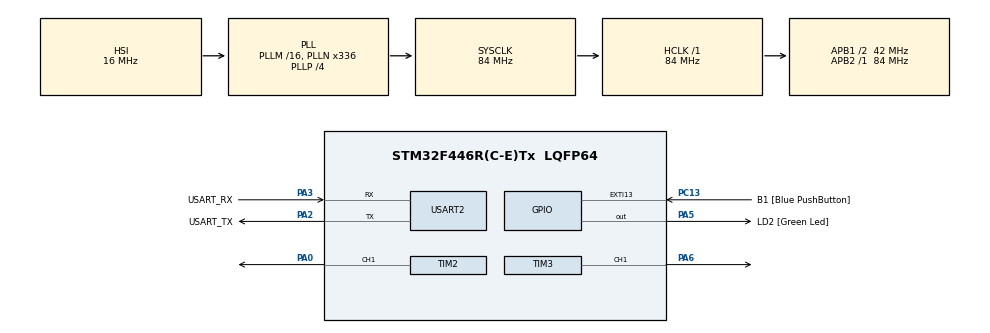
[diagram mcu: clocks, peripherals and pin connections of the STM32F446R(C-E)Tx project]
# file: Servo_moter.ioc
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Mcu.Family=STM32F4
Mcu.Name=STM32F446R(C-E)Tx
Mcu.Package=LQFP64
NVIC.PriorityGroup=NVIC_PRIORITYGROUP_0
PA0-WKUP.Signal=S_TIM2_CH1_ETR
PA13.GPIO_Label=TMS
PA13.Mode=Serial_Wire
PA13.Signal=SYS_JTMS-SWDIO
PA14.GPIO_Label=TCK
PA14.Mode=Serial_Wire
PA14.Signal=SYS_JTCK-SWCLK
PA2.GPIO_Label=USART_TX
PA2.Mode=Asynchronous
PA2.Signal=USART2_TX
PA3.GPIO_Label=USART_RX
PA3.Mode=Asynchronous
PA3.Signal=USART2_RX
PA5.GPIO_Label=LD2 [Green Led]
PA5.Signal=GPIO_Output
PA6.Signal=S_TIM3_CH1
PB3.GPIO_Label=SWO
PB3.Signal=SYS_JTDO-SWO
PC13.GPIO_Label=B1 [Blue PushButton]
PC13.GPIO_ModeDefaultEXTI=GPIO_MODE_IT_FALLING
PC13.Signal=GPXTI13
PC14-OSC32_IN.Signal=RCC_OSC32_IN
PC15-OSC32_OUT.Signal=RCC_OSC32_OUT
PH0-OSC_IN.Signal=RCC_OSC_IN
PH1-OSC_OUT.Signal=RCC_OSC_OUT
ProjectManager.HeapSize=0x200
ProjectManager.StackSize=0x400
ProjectManager.TargetToolchain=STM32CubeIDE
RCC.48MHZClocksFreq_Value=84000000
RCC.AHBFreq_Value=84000000
RCC.APB1CLKDivider=RCC_HCLK_DIV2
RCC.APB1Freq_Value=42000000
RCC.APB1TimFreq_Value=84000000
RCC.APB2Freq_Value=84000000
RCC.APB2TimFreq_Value=84000000
RCC.CortexFreq_Value=84000000
RCC.FLatency-AdvancedSettings=FLASH_LATENCY_2
RCC.HCLKFreq_Value=84000000
RCC.HSE_VALUE=8000000
RCC.HSI_VALUE=16000000
RCC.PLLN=336
RCC.PLLP=RCC_PLLP_DIV4
RCC.SYSCLKFreq_VALUE=84000000
RCC.SYSCLKSource=RCC_SYSCLKSOURCE_PLLCLK
RCC.USBFreq_Value=168000000
RCC.VCOOutputFreq_Value=336000000
SH.S_TIM2_CH1_ETR.0=TIM2_CH1,PWM Generation1 CH1
SH.S_TIM3_CH1.0=TIM3_CH1,PWM Generation1 CH1
TIM2.Channel-PWM\ Generation1\ CH1=TIM_CHANNEL_1
TIM2.Period=1000-1
TIM2.Prescaler=1680-1
TIM3.Channel-PWM\ Generation1\ CH1=TIM_CHANNEL_1
TIM3.Period=1000-1
TIM3.Prescaler=1680-1
USART2.VirtualMode=VM_ASYNC
VP_TIM2_VS_ClockSourceINT.Mode=Internal
VP_TIM3_VS_ClockSourceINT.Mode=Internal
board=NUCLEO-F446RE

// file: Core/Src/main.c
/* USER CODE BEGIN Header */
/**
  ******************************************************************************
  * @file           : main.c
  * @brief          : Main program body
  ******************************************************************************
  * @attention
  *
  * Copyright (c) 2026 STMicroelectronics.
  * All rights reserved.
  *
  * This software is licensed under terms that can be found in the LICENSE file
  * in the root directory of this software component.
  * If no LICENSE file comes with this software, it is provided AS-IS.
  *
  ******************************************************************************
  */
/* USER CODE END Header */
#include "main.h"

/* USER CODE BEGIN Includes */
#include <stdio.h>
/* USER CODE END Includes */

/* USER CODE BEGIN PD */
#define MAX 125  // 2.5ms pulse width (최대 각도)
#define MIN 25   // 0.5ms pulse width (최소 각도)
#define CENTER 75 // 1.5ms pulse width (중앙 각도)
#define STEP 1
/* USER CODE END PD */

TIM_HandleTypeDef htim2;
TIM_HandleTypeDef htim3;

UART_HandleTypeDef huart2;

/* USER CODE BEGIN PV */
uint8_t ch;
uint8_t pos_pan = 75;
uint8_t pos_tilt = 75;
/* USER CODE END PD */

/* Private macro -------------------------------------------------------------*/
/* USER CODE BEGIN PM */

/* USER CODE END PM */

/* Private variables ---------------------------------------------------------*/
TIM_HandleTypeDef htim2;

UART_HandleTypeDef huart2;

/* USER CODE BEGIN PV */

/* USER CODE END PV */

void SystemClock_Config(void);
static void MX_GPIO_Init(void);
static void MX_USART2_UART_Init(void);
static void MX_TIM2_Init(void);
static void MX_TIM3_Init(void);
/* USER CODE BEGIN PFP */
uint16_t pwm_to_angle(uint8_t pwm_value);
void display_servo_status(uint8_t pan, uint8_t tilt);
/* USER CODE END PFP */

/* USER CODE BEGIN 0 */
#ifdef __GNUC__
/* With GCC, small printf (option LD Linker->Libraries->Small printf
   set to 'Yes') calls __io_putchar() */
#define PUTCHAR_PROTOTYPE int __io_putchar(int ch)
#else
#define PUTCHAR_PROTOTYPE int fputc(int ch, FILE *f)
#endif /* __GNUC__ */

/**
  * @brief  Retargets the C library printf function to the USART.
  * @param  None
  * @retval None
  */
PUTCHAR_PROTOTYPE
{
  /* Place your implementation of fputc here */
  /* e.g. write a character to the USART1 and Loop until the end of transmission */
  if (ch == '\n')
    HAL_UART_Transmit (&huart2, (uint8_t*) "\r", 1, 0xFFFF);
  HAL_UART_Transmit (&huart2, (uint8_t*) &ch, 1, 0xFFFF);

  return ch;
}

/**
  * @brief  PWM 값을 각도로 변환하는 함수
  * @param  pwm_value: PWM 듀티 사이클 값 (25~125)
  * @retval 각도 값 (0~1800, 실제 각도 x 10)
  */
uint16_t pwm_to_angle(uint8_t pwm_value)
{
  // PWM 25~125 범위를 0~180도로 변환
  // 소수점 계산을 위해 10배로 확대 (0~1800)
  // 공식: angle = (pwm_value - 25) * 1800 / (125 - 25)
  return ((uint16_t)(pwm_value - MIN) * 1800) / (MAX - MIN);
}

/**
  * @brief  서보모터 상태를 화면에 출력하는 함수
  * @param  pan: Pan 서보 PWM 값
  * @param  tilt: Tilt 서보 PWM 값
  * @retval None
  */
void display_servo_status(uint8_t pan, uint8_t tilt)
{
  uint16_t pan_angle = pwm_to_angle(pan);
  uint16_t tilt_angle = pwm_to_angle(tilt);

  printf("Pan: %3d (%3d.%d°) | Tilt: %3d (%3d.%d°)\r\n",
         pan, pan_angle/10, pan_angle%10,
         tilt, tilt_angle/10, tilt_angle%10);
}
/* USER CODE END 0 */

int main(void)
{

  /* MCU Configuration--------------------------------------------------------*/

  /* Reset of all peripherals, Initializes the Flash interface and the Systick. */
  HAL_Init();

  /* Configure the system clock */
  SystemClock_Config();

  /* Initialize all configured peripherals */
  MX_GPIO_Init();
  MX_USART2_UART_Init();
  MX_TIM2_Init();
  MX_TIM3_Init();
  /* USER CODE BEGIN 2 */
  HAL_TIM_PWM_Start(&htim2, TIM_CHANNEL_1);
   HAL_TIM_PWM_Start(&htim3, TIM_CHANNEL_1);

   // 초기 위치 설정
   __HAL_TIM_SET_COMPARE(&htim2, TIM_CHANNEL_1, pos_pan);
   __HAL_TIM_SET_COMPARE(&htim3, TIM_CHANNEL_1, pos_tilt);

   printf("Servo Control Ready\r\n");
   printf("Commands: w(up), s(down), a(left), d(right), i(center)\r\n");
   printf("Initial Position:\r\n");
    display_servo_status(pos_pan, pos_tilt);
    printf("Ready!\r\n\r\n");
  /* USER CODE END 2 */

  /* Infinite loop */
  /* USER CODE BEGIN WHILE */
    while (1)
    {
      if (HAL_UART_Receive(&huart2, &ch, sizeof(ch), 10) == HAL_OK)
      {
        switch (ch)
        {
          case 's': // Down
            printf("Command: Down\r\n");
            pos_tilt = (pos_tilt + STEP <= MAX) ? (pos_tilt + STEP) : MAX;
            break;

          case 'w': // Up
            printf("Command: Up\r\n");
            pos_tilt = (pos_tilt - STEP >= MIN) ? (pos_tilt - STEP) : MIN;
            break;

          case 'a': // Left
            printf("Command: Left\r\n");
            pos_pan = (pos_pan + STEP <= MAX) ? (pos_pan + STEP) : MAX;
            break;

          case 'd': // Right
            printf("Command: Right\r\n");
            pos_pan = (pos_pan - STEP >= MIN) ? (pos_pan - STEP) : MIN;
            break;

          case 'i': // Center
            printf("Command: Center\r\n");
            pos_pan = CENTER;
            pos_tilt = CENTER;
            break;

          default:
            printf("Invalid command: %c\r\n", ch);
            continue; // 잘못된 명령이면 아래 PWM 업데이트 로직을 건너뜀
        }

        // PWM 듀티 사이클 업데이트 (정상적인 명령일 때만 실행됨)
        __HAL_TIM_SET_COMPARE(&htim2, TIM_CHANNEL_1, pos_pan);
        __HAL_TIM_SET_COMPARE(&htim3, TIM_CHANNEL_1, pos_tilt);

        // 상태 출력
        display_servo_status(pos_pan, pos_tilt);

        HAL_Delay(50); // 서보 응답 시간
      }

	      }
    /* USER CODE END WHILE */

  }

void SystemClock_Config(void)
{
  RCC_OscInitTypeDef RCC_OscInitStruct = {0};
  RCC_ClkInitTypeDef RCC_ClkInitStruct = {0};

  /** Configure the main internal regulator output voltage
  */
  __HAL_RCC_PWR_CLK_ENABLE();
  __HAL_PWR_VOLTAGESCALING_CONFIG(PWR_REGULATOR_VOLTAGE_SCALE3);

  /** Initializes the RCC Oscillators according to the specified parameters
  * in the RCC_OscInitTypeDef structure.
  */
  RCC_OscInitStruct.OscillatorType = RCC_OSCILLATORTYPE_HSI;
  RCC_OscInitStruct.HSIState = RCC_HSI_ON;
  RCC_OscInitStruct.HSICalibrationValue = RCC_HSICALIBRATION_DEFAULT;
  RCC_OscInitStruct.PLL.PLLState = RCC_PLL_ON;
  RCC_OscInitStruct.PLL.PLLSource = RCC_PLLSOURCE_HSI;
  RCC_OscInitStruct.PLL.PLLM = 16;
  RCC_OscInitStruct.PLL.PLLN = 336;
  RCC_OscInitStruct.PLL.PLLP = RCC_PLLP_DIV4;
  RCC_OscInitStruct.PLL.PLLQ = 2;
  RCC_OscInitStruct.PLL.PLLR = 2;
  if (HAL_RCC_OscConfig(&RCC_OscInitStruct) != HAL_OK)
  {
    Error_Handler();
  }

  /** Initializes the CPU, AHB and APB buses clocks
  */
  RCC_ClkInitStruct.ClockType = RCC_CLOCKTYPE_HCLK|RCC_CLOCKTYPE_SYSCLK
                              |RCC_CLOCKTYPE_PCLK1|RCC_CLOCKTYPE_PCLK2;
  RCC_ClkInitStruct.SYSCLKSource = RCC_SYSCLKSOURCE_PLLCLK;
  RCC_ClkInitStruct.AHBCLKDivider = RCC_SYSCLK_DIV1;
  RCC_ClkInitStruct.APB1CLKDivider = RCC_HCLK_DIV2;
  RCC_ClkInitStruct.APB2CLKDivider = RCC_HCLK_DIV1;

  if (HAL_RCC_ClockConfig(&RCC_ClkInitStruct, FLASH_LATENCY_2) != HAL_OK)
  {
    Error_Handler();
  }
}

static void MX_TIM2_Init(void)
{

  TIM_ClockConfigTypeDef sClockSourceConfig = {0};
  TIM_MasterConfigTypeDef sMasterConfig = {0};
  TIM_OC_InitTypeDef sConfigOC = {0};

  htim2.Instance = TIM2;
  htim2.Init.Prescaler = 1680-1;
  htim2.Init.CounterMode = TIM_COUNTERMODE_UP;
  htim2.Init.Period = 1000-1;
  htim2.Init.ClockDivision = TIM_CLOCKDIVISION_DIV1;
  htim2.Init.AutoReloadPreload = TIM_AUTORELOAD_PRELOAD_DISABLE;
  if (HAL_TIM_Base_Init(&htim2) != HAL_OK)
  {
    Error_Handler();
  }
  sClockSourceConfig.ClockSource = TIM_CLOCKSOURCE_INTERNAL;
  if (HAL_TIM_ConfigClockSource(&htim2, &sClockSourceConfig) != HAL_OK)
  {
    Error_Handler();
  }
  if (HAL_TIM_PWM_Init(&htim2) != HAL_OK)
  {
    Error_Handler();
  }
  sMasterConfig.MasterOutputTrigger = TIM_TRGO_RESET;
  sMasterConfig.MasterSlaveMode = TIM_MASTERSLAVEMODE_DISABLE;
  if (HAL_TIMEx_MasterConfigSynchronization(&htim2, &sMasterConfig) != HAL_OK)
  {
    Error_Handler();
  }
  sConfigOC.OCMode = TIM_OCMODE_PWM1;
  sConfigOC.Pulse = 0;
  sConfigOC.OCPolarity = TIM_OCPOLARITY_HIGH;
  sConfigOC.OCFastMode = TIM_OCFAST_DISABLE;
  if (HAL_TIM_PWM_ConfigChannel(&htim2, &sConfigOC, TIM_CHANNEL_1) != HAL_OK)
  {
    Error_Handler();
  }
  HAL_TIM_MspPostInit(&htim2);

}

static void MX_TIM3_Init(void)
{

  TIM_ClockConfigTypeDef sClockSourceConfig = {0};
  TIM_MasterConfigTypeDef sMasterConfig = {0};
  TIM_OC_InitTypeDef sConfigOC = {0};

  htim3.Instance = TIM3;
  htim3.Init.Prescaler = 1680-1;
  htim3.Init.CounterMode = TIM_COUNTERMODE_UP;
  htim3.Init.Period = 1000-1;
  htim3.Init.ClockDivision = TIM_CLOCKDIVISION_DIV1;
  htim3.Init.AutoReloadPreload = TIM_AUTORELOAD_PRELOAD_DISABLE;
  if (HAL_TIM_Base_Init(&htim3) != HAL_OK)
  {
    Error_Handler();
  }
  sClockSourceConfig.ClockSource = TIM_CLOCKSOURCE_INTERNAL;
  if (HAL_TIM_ConfigClockSource(&htim3, &sClockSourceConfig) != HAL_OK)
  {
    Error_Handler();
  }
  if (HAL_TIM_PWM_Init(&htim3) != HAL_OK)
  {
    Error_Handler();
  }
  sMasterConfig.MasterOutputTrigger = TIM_TRGO_RESET;
  sMasterConfig.MasterSlaveMode = TIM_MASTERSLAVEMODE_DISABLE;
  if (HAL_TIMEx_MasterConfigSynchronization(&htim3, &sMasterConfig) != HAL_OK)
  {
    Error_Handler();
  }
  sConfigOC.OCMode = TIM_OCMODE_PWM1;
  sConfigOC.Pulse = 0;
  sConfigOC.OCPolarity = TIM_OCPOLARITY_HIGH;
  sConfigOC.OCFastMode = TIM_OCFAST_DISABLE;
  if (HAL_TIM_PWM_ConfigChannel(&htim3, &sConfigOC, TIM_CHANNEL_1) != HAL_OK)
  {
    Error_Handler();
  }
  HAL_TIM_MspPostInit(&htim3);

}

static void MX_USART2_UART_Init(void)
{

  huart2.Instance = USART2;
  huart2.Init.BaudRate = 115200;
  huart2.Init.WordLength = UART_WORDLENGTH_8B;
  huart2.Init.StopBits = UART_STOPBITS_1;
  huart2.Init.Parity = UART_PARITY_NONE;
  huart2.Init.Mode = UART_MODE_TX_RX;
  huart2.Init.HwFlowCtl = UART_HWCONTROL_NONE;
  huart2.Init.OverSampling = UART_OVERSAMPLING_16;
  if (HAL_UART_Init(&huart2) != HAL_OK)
  {
    Error_Handler();
  }

}

static void MX_GPIO_Init(void)
{
  GPIO_InitTypeDef GPIO_InitStruct = {0};

  /* GPIO Ports Clock Enable */
  __HAL_RCC_GPIOC_CLK_ENABLE();
  __HAL_RCC_GPIOH_CLK_ENABLE();
  __HAL_RCC_GPIOA_CLK_ENABLE();
  __HAL_RCC_GPIOB_CLK_ENABLE();

  /*Configure GPIO pin Output Level */
  HAL_GPIO_WritePin(LD2_GPIO_Port, LD2_Pin, GPIO_PIN_RESET);

  /*Configure GPIO pin : B1_Pin */
  GPIO_InitStruct.Pin = B1_Pin;
  GPIO_InitStruct.Mode = GPIO_MODE_IT_FALLING;
  GPIO_InitStruct.Pull = GPIO_NOPULL;
  HAL_GPIO_Init(B1_GPIO_Port, &GPIO_InitStruct);

  /*Configure GPIO pin : LD2_Pin */
  GPIO_InitStruct.Pin = LD2_Pin;
  GPIO_InitStruct.Mode = GPIO_MODE_OUTPUT_PP;
  GPIO_InitStruct.Pull = GPIO_NOPULL;
  GPIO_InitStruct.Speed = GPIO_SPEED_FREQ_LOW;
  HAL_GPIO_Init(LD2_GPIO_Port, &GPIO_InitStruct);

}

/* USER CODE BEGIN 4 */
void SG90_SetAngle(uint8_t angle)
{
    // Period = 1000, 주기 = 20ms
    // 0도  → 0.5ms → CCR = 25
    // 90도 → 1.5ms → CCR = 75
    // 180도→ 2.5ms → CCR = 125
    uint32_t ccr_val = 25 + ((uint32_t)angle * 100 / 180);
    __HAL_TIM_SET_COMPARE(&htim2, TIM_CHANNEL_1, ccr_val);
}

/* USER CODE END 4 */

void Error_Handler(void)
{
  __disable_irq();
  while (1)
  {
  }
}
